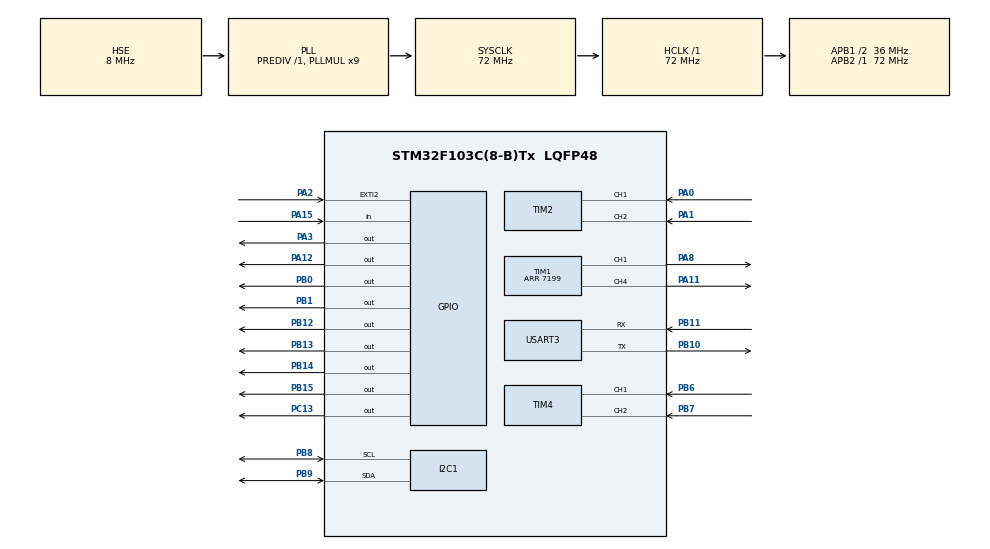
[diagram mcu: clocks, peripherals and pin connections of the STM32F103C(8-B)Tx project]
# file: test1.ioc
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Mcu.Family=STM32F1
Mcu.Name=STM32F103C(8-B)Tx
Mcu.Package=LQFP48
NVIC.EXTI2_IRQn=true\:0\:0\:false\:false\:true\:true\:true\:true
NVIC.PriorityGroup=NVIC_PRIORITYGROUP_4
NVIC.TIM1_UP_IRQn=true\:0\:0\:false\:false\:true\:true\:true\:true
NVIC.USART3_IRQn=true\:0\:0\:false\:false\:true\:true\:true\:true
PA0-WKUP.Signal=S_TIM2_CH1_ETR
PA1.Signal=S_TIM2_CH2
PA11.Signal=S_TIM1_CH4
PA12.Signal=GPIO_Output
PA13.Mode=Serial_Wire
PA13.Signal=SYS_JTMS-SWDIO
PA14.Mode=Serial_Wire
PA14.Signal=SYS_JTCK-SWCLK
PA15.Signal=GPIO_Input
PA2.GPIO_ModeDefaultEXTI=GPIO_MODE_IT_RISING_FALLING
PA2.Signal=GPXTI2
PA3.GPIO_Speed=GPIO_SPEED_FREQ_HIGH
PA3.PinState=GPIO_PIN_RESET
PA3.Signal=GPIO_Output
PA8.Signal=S_TIM1_CH1
PB0.Signal=GPIO_Output
PB1.Signal=GPIO_Output
PB10.Mode=Asynchronous
PB10.Signal=USART3_TX
PB11.Mode=Asynchronous
PB11.Signal=USART3_RX
PB12.Signal=GPIO_Output
PB13.Signal=GPIO_Output
PB14.Signal=GPIO_Output
PB15.Signal=GPIO_Output
PB6.Signal=S_TIM4_CH1
PB7.Signal=S_TIM4_CH2
PB8.Mode=I2C
PB8.Signal=I2C1_SCL
PB9.Mode=I2C
PB9.Signal=I2C1_SDA
PC13-TAMPER-RTC.Signal=GPIO_Output
PC14-OSC32_IN.Mode=LSE-External-Oscillator
PC14-OSC32_IN.Signal=RCC_OSC32_IN
PC15-OSC32_OUT.Mode=LSE-External-Oscillator
PC15-OSC32_OUT.Signal=RCC_OSC32_OUT
PD0-OSC_IN.Mode=HSE-External-Oscillator
PD0-OSC_IN.Signal=RCC_OSC_IN
PD1-OSC_OUT.Mode=HSE-External-Oscillator
PD1-OSC_OUT.Signal=RCC_OSC_OUT
ProjectManager.HeapSize=0x200
ProjectManager.StackSize=0x400
ProjectManager.TargetToolchain=MDK-ARM V5
RCC.AHBFreq_Value=72000000
RCC.APB1CLKDivider=RCC_HCLK_DIV2
RCC.APB1Freq_Value=36000000
RCC.APB1TimFreq_Value=72000000
RCC.APB2Freq_Value=72000000
RCC.APB2TimFreq_Value=72000000
RCC.HCLKFreq_Value=72000000
RCC.PLLMUL=RCC_PLL_MUL9
RCC.PLLSourceVirtual=RCC_PLLSOURCE_HSE
RCC.SYSCLKFreq_VALUE=72000000
RCC.SYSCLKSource=RCC_SYSCLKSOURCE_PLLCLK
RCC.USBFreq_Value=72000000
SH.S_TIM1_CH1.0=TIM1_CH1,PWM Generation1 CH1
SH.S_TIM1_CH4.0=TIM1_CH4,PWM Generation4 CH4
SH.S_TIM2_CH1_ETR.0=TIM2_CH1,Encoder_Interface
SH.S_TIM2_CH2.0=TIM2_CH2,Encoder_Interface
SH.S_TIM4_CH1.0=TIM4_CH1,Encoder_Interface
SH.S_TIM4_CH2.0=TIM4_CH2,Encoder_Interface
TIM1.Channel-PWM\ Generation1\ CH1=TIM_CHANNEL_1
TIM1.Channel-PWM\ Generation4\ CH4=TIM_CHANNEL_4
TIM1.Period=7199
TIM2.EncoderMode=TIM_ENCODERMODE_TI12
TIM3.Prescaler=71
TIM4.EncoderMode=TIM_ENCODERMODE_TI12
USART3.VirtualMode=VM_ASYNC
VP_TIM3_VS_ClockSourceINT.Mode=Internal
board=custom

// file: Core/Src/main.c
/* USER CODE BEGIN Header */
/**
  ******************************************************************************
  * @file           : main.c
  * @brief          : Main program body
  ******************************************************************************
  * @attention
  *
  * Copyright (c) 2026 STMicroelectronics.
  * All rights reserved.
  *
  * This software is licensed under terms that can be found in the LICENSE file
  * in the root directory of this software component.
  * If no LICENSE file comes with this software, it is provided AS-IS.
  *
  ******************************************************************************
  */
/* USER CODE END Header */
#include "main.h"
#include "i2c.h"
#include "tim.h"
#include "usart.h"
#include "gpio.h"

/* USER CODE BEGIN Includes */
#include "oled.h"
#include "motor.h"
#include "encoder.h"
#include "sr04.h"

/* USER CODE END Includes */

/* USER CODE BEGIN PD */

int Encoder_Left,Encoder_Right;
uint8_t display_buf[20];
uint32_t sys_tick;
extern uint8_t rx_buf[2];
extern float distance;
extern uint8_t Mode;

/* USER CODE END PD */

void SystemClock_Config(void);

int main(void)
{

  /* MCU Configuration--------------------------------------------------------*/

  /* Reset of all peripherals, Initializes the Flash interface and the Systick. */
  HAL_Init();

  /* Configure the system clock */
  SystemClock_Config();

  /* Initialize all configured peripherals */
  MX_GPIO_Init();
  MX_I2C1_Init();
  MX_TIM1_Init();
  MX_TIM2_Init();
  MX_TIM3_Init();
  MX_TIM4_Init();
  MX_USART3_UART_Init();
  /* USER CODE BEGIN 2 */
	OLED_Init();
	OLED_Clear();
	HAL_GPIO_WritePin(GPIOA,GPIO_PIN_12,GPIO_PIN_SET);
	HAL_TIM_PWM_Start(&htim1,TIM_CHANNEL_1);
	HAL_TIM_PWM_Start(&htim1,TIM_CHANNEL_4);
	HAL_TIM_Base_Start_IT(&htim1);
	HAL_TIM_Encoder_Start(&htim2,TIM_CHANNEL_ALL);
	HAL_TIM_Encoder_Start(&htim4,TIM_CHANNEL_ALL);
	HAL_UART_Receive_IT(&huart3,rx_buf,1);

	//OLED_ShowString(0,00,"Init Sucess",16);
	//Load(1000,1000);

  /* USER CODE END 2 */

  /* Infinite loop */
  /* USER CODE BEGIN WHILE */
  while (1)
  {
		sprintf((char *)display_buf,"Mode:%d   ",Mode);
		OLED_ShowString(0,0,display_buf,16);
		sprintf((char *)display_buf,"Enc_R:%d   ",Encoder_Right);
		OLED_ShowString(0,2,display_buf,16);
		sprintf((char *)display_buf,"dis:%.2f  ",distance);
		OLED_ShowString(0,4,display_buf,16);
		sprintf((char *)display_buf,"uart:%x  ",rx_buf[0]);
		OLED_ShowString(0,6,display_buf,16);

    /* USER CODE END WHILE */

  }
}

void SystemClock_Config(void)
{
  RCC_OscInitTypeDef RCC_OscInitStruct = {0};
  RCC_ClkInitTypeDef RCC_ClkInitStruct = {0};

  /** Initializes the RCC Oscillators according to the specified parameters
  * in the RCC_OscInitTypeDef structure.
  */
  RCC_OscInitStruct.OscillatorType = RCC_OSCILLATORTYPE_HSE;
  RCC_OscInitStruct.HSEState = RCC_HSE_ON;
  RCC_OscInitStruct.HSEPredivValue = RCC_HSE_PREDIV_DIV1;
  RCC_OscInitStruct.HSIState = RCC_HSI_ON;
  RCC_OscInitStruct.PLL.PLLState = RCC_PLL_ON;
  RCC_OscInitStruct.PLL.PLLSource = RCC_PLLSOURCE_HSE;
  RCC_OscInitStruct.PLL.PLLMUL = RCC_PLL_MUL9;
  if (HAL_RCC_OscConfig(&RCC_OscInitStruct) != HAL_OK)
  {
    Error_Handler();
  }

  /** Initializes the CPU, AHB and APB buses clocks
  */
  RCC_ClkInitStruct.ClockType = RCC_CLOCKTYPE_HCLK|RCC_CLOCKTYPE_SYSCLK
                              |RCC_CLOCKTYPE_PCLK1|RCC_CLOCKTYPE_PCLK2;
  RCC_ClkInitStruct.SYSCLKSource = RCC_SYSCLKSOURCE_PLLCLK;
  RCC_ClkInitStruct.AHBCLKDivider = RCC_SYSCLK_DIV1;
  RCC_ClkInitStruct.APB1CLKDivider = RCC_HCLK_DIV2;
  RCC_ClkInitStruct.APB2CLKDivider = RCC_HCLK_DIV1;

  if (HAL_RCC_ClockConfig(&RCC_ClkInitStruct, FLASH_LATENCY_2) != HAL_OK)
  {
    Error_Handler();
  }
}

void Error_Handler(void)
{
  __disable_irq();
  while (1)
  {
  }
}
